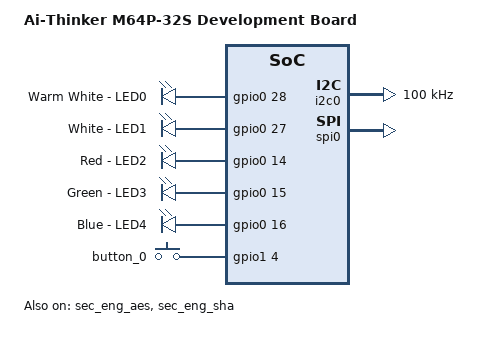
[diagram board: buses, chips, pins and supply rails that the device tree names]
/*
 * Copyright (c) 2026 MASSDRIVER EI (massdriver.space)
 *
 * SPDX-License-Identifier: Apache-2.0
 */

/dts-v1/;

#include "ai_m64p_32s.dtsi"
#include "ai_m64p_32s_kit-pinctrl.dtsi"

/ {
	model = "Ai-Thinker M64P-32S Development Board";

	aliases {
		led0 = &warmwhite_led;
		pwm-led0 = &warmwhite_pwm_led;
		sw0 = &button_0;
	};

	leds {
		compatible = "gpio-leds";

		warmwhite_led: led_0 {
			gpios = <&gpio0 28 GPIO_ACTIVE_HIGH>;
			label = "Warm White - LED0";
		};

		white_led: led_1 {
			gpios = <&gpio0 27 GPIO_ACTIVE_HIGH>;
			label = "White - LED1";
		};

		red_led: led_2 {
			gpios = <&gpio0 14 GPIO_ACTIVE_HIGH>;
			label = "Red - LED2";
		};

		green_led: led_3 {
			gpios = <&gpio0 15 GPIO_ACTIVE_HIGH>;
			label = "Green - LED3";
		};

		blue_led: led_4 {
			gpios = <&gpio0 16 GPIO_ACTIVE_HIGH>;
			label = "Blue - LED4";
		};
	};

	pwmleds: pwmleds {
		compatible = "pwm-leds";
		status = "disabled";

		warmwhite_pwm_led: led_pwm_0 {
			pwms = <&pwm0 0 PWM_MSEC(1) PWM_POLARITY_NORMAL>;
			label = "Warm White - LED0 PWM";
		};

		white_pwm_led: led_pwm_1 {
			pwms = <&pwm0 3 PWM_MSEC(1) PWM_POLARITY_NORMAL>;
			label = "White - LED1 PWM";
		};

		red_pwm_led: led_pwm_2 {
			pwms = <&pwm0 2 PWM_MSEC(1) PWM_POLARITY_NORMAL>;
			label = "Red - LED2 PWM";
		};

		green_pwm_led: led_pwm_3 {
			pwms = <&pwm0 3 PWM_MSEC(1) PWM_POLARITY_NORMAL>;
			label = "Green - LED3 PWM";
		};

		blue_pwm_led: led_pwm_4 {
			pwms = <&pwm0 0 PWM_MSEC(1) PWM_POLARITY_NORMAL>;
			label = "Blue - LED4 PWM";
		};
	};

	buttons {
		compatible = "gpio-keys";

		button_0: sw0 {
			gpios = <&gpio1 4 GPIO_ACTIVE_HIGH>;
			zephyr,code = <INPUT_KEY_0>;
		};
	};
};

&i2c0 {
	status = "okay";
	clock-frequency = <I2C_BITRATE_STANDARD>;

	pinctrl-0 = <&i2c0_default>;
	pinctrl-names = "default";
};

&spi0 {
	status = "okay";

	pinctrl-0 = <&spi0_default>;
	pinctrl-names = "default";
};

&sec_eng_aes {
	status = "okay";
};

&sec_eng_sha {
	status = "okay";
};
